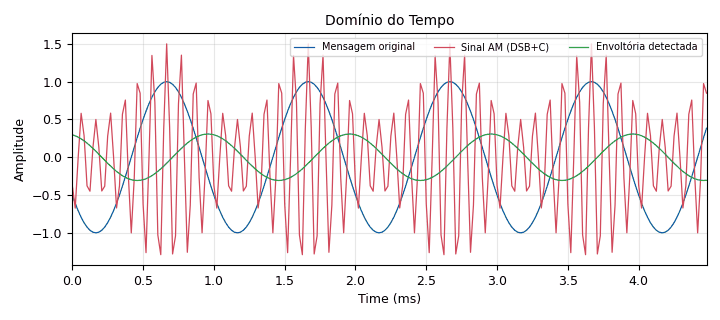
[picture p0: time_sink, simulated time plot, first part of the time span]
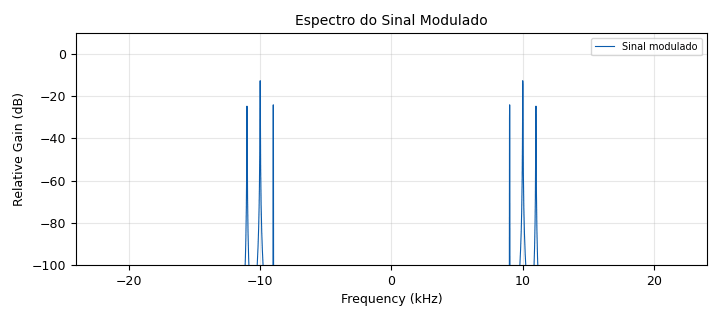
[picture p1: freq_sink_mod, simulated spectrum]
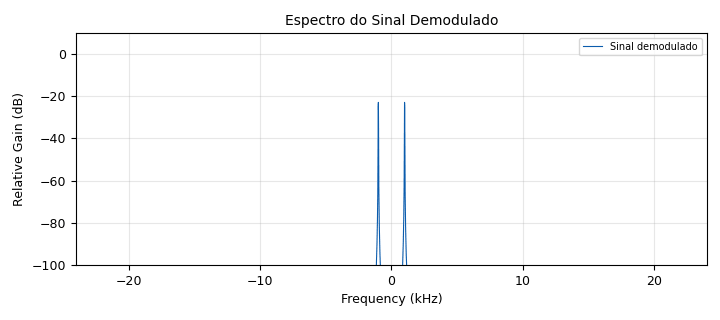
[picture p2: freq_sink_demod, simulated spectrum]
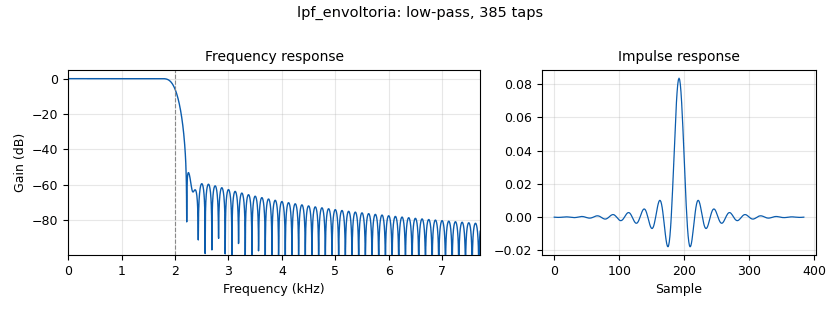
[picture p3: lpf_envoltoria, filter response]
options:
  parameters:
    author: Prof. Daniel Costa Araújo
    description: Prática 03 - Modulação AM Convencional (DSB+C)
    generate_options: qt_gui
    id: pratica_03_am_convencional
    output_language: python
    title: Prática 03 - Modulação AM Convencional (DSB+C)
  states: {}

blocks:
- name: samp_rate
  id: variable
  parameters:
    comment: Taxa de amostragem
    value: '48000'
  states: {}
- name: fc
  id: variable
  parameters:
    comment: Frequência da portadora
    value: '10000'
  states: {}
- name: fm
  id: variable
  parameters:
    comment: Frequência da mensagem
    value: '1000'
  states: {}
- name: mu
  id: variable_qtgui_range
  parameters:
    comment: Índice de modulação
    gui_hint: 0,0,1,2
    label: Índice de modulação μ
    start: '0.0'
    step: '0.05'
    stop: '2.0'
    value: '0.5'
  states: {}
- name: src_mensagem
  id: analog_sig_source_x
  parameters:
    amp: '1.0'
    comment: Sinal mensagem m(t)
    freq: fm
    offset: '0'
    phase: '0'
    samp_rate: samp_rate
    type: float
    waveform: analog.GR_COS_WAVE
  states: {}
- name: src_portadora
  id: analog_sig_source_x
  parameters:
    amp: '1.0'
    comment: Portadora c(t)
    freq: fc
    offset: '0'
    phase: '0'
    samp_rate: samp_rate
    type: float
    waveform: analog.GR_COS_WAVE
  states: {}
- name: mult_const_mu
  id: blocks_multiply_const_vxx
  parameters:
    comment: 'Escala por μ: μ·m(t)'
    const: mu
    type: float
  states: {}
- name: add_const_dc
  id: blocks_add_const_vxx
  parameters:
    comment: 'Soma DC: 1 + μ·m(t)'
    const: '1.0'
    type: float
  states: {}
- name: mult_mod
  id: blocks_multiply_xx
  parameters:
    comment: 'Modulação AM: [1+μ·m(t)] × c(t)'
    type: float
  states: {}
- name: throttle
  id: blocks_throttle2
  parameters:
    samples_per_second: samp_rate
    type: float
  states: {}
- name: abs_envoltoria
  id: blocks_abs_xx
  parameters:
    comment: Valor absoluto |s(t)|
    type: float
  states: {}
- name: lpf_envoltoria
  id: low_pass_filter
  parameters:
    comment: LPF para suavizar envoltória
    cutoff_freq: fm*2
    decim: '1'
    gain: '1'
    samp_rate: samp_rate
    type: fir_filter_fff
    width: '300'
    win: window.WIN_HAMMING
  states: {}
- name: dc_blocker
  id: dc_blocker_xx
  parameters:
    comment: Remove DC da envoltória
    length: '32'
    long_form: 'True'
    type: ff
  states: {}
- name: time_sink
  id: qtgui_time_sink_x
  parameters:
    autoscale: 'True'
    grid: 'True'
    gui_hint: 2,0,1,1
    label1: Mensagem original
    label2: Sinal AM (DSB+C)
    label3: Envoltória detectada
    name: '"Domínio do Tempo"'
    nconnections: '3'
    size: '1024'
    srate: samp_rate
    type: float
    ymax: '1.5'
    ymin: '-1.5'
  states: {}
- name: freq_sink_mod
  id: qtgui_freq_sink_x
  parameters:
    bw: samp_rate
    fc: '0'
    fftsize: '4096'
    grid: 'True'
    gui_hint: 2,1,1,1
    label1: Sinal modulado
    name: '"Espectro do Sinal Modulado"'
    type: float
    wintype: window.WIN_HANN
    ymin: '-100'
  states: {}
- name: freq_sink_demod
  id: qtgui_freq_sink_x
  parameters:
    bw: samp_rate
    fc: '0'
    fftsize: '4096'
    grid: 'True'
    gui_hint: 3,0,1,2
    label1: Sinal demodulado
    name: '"Espectro do Sinal Demodulado"'
    type: float
    wintype: window.WIN_HANN
    ymin: '-100'
  states: {}

connections:
- [src_mensagem, '0', mult_const_mu, '0']
- [mult_const_mu, '0', add_const_dc, '0']
- [add_const_dc, '0', mult_mod, '0']
- [src_portadora, '0', mult_mod, '1']
- [mult_mod, '0', throttle, '0']
- [throttle, '0', abs_envoltoria, '0']
- [abs_envoltoria, '0', lpf_envoltoria, '0']
- [lpf_envoltoria, '0', dc_blocker, '0']
- [src_mensagem, '0', time_sink, '0']
- [throttle, '0', time_sink, '1']
- [dc_blocker, '0', time_sink, '2']
- [throttle, '0', freq_sink_mod, '0']
- [dc_blocker, '0', freq_sink_demod, '0']

metadata:
  file_format: 1
  grc_version: 3.10.12.0
